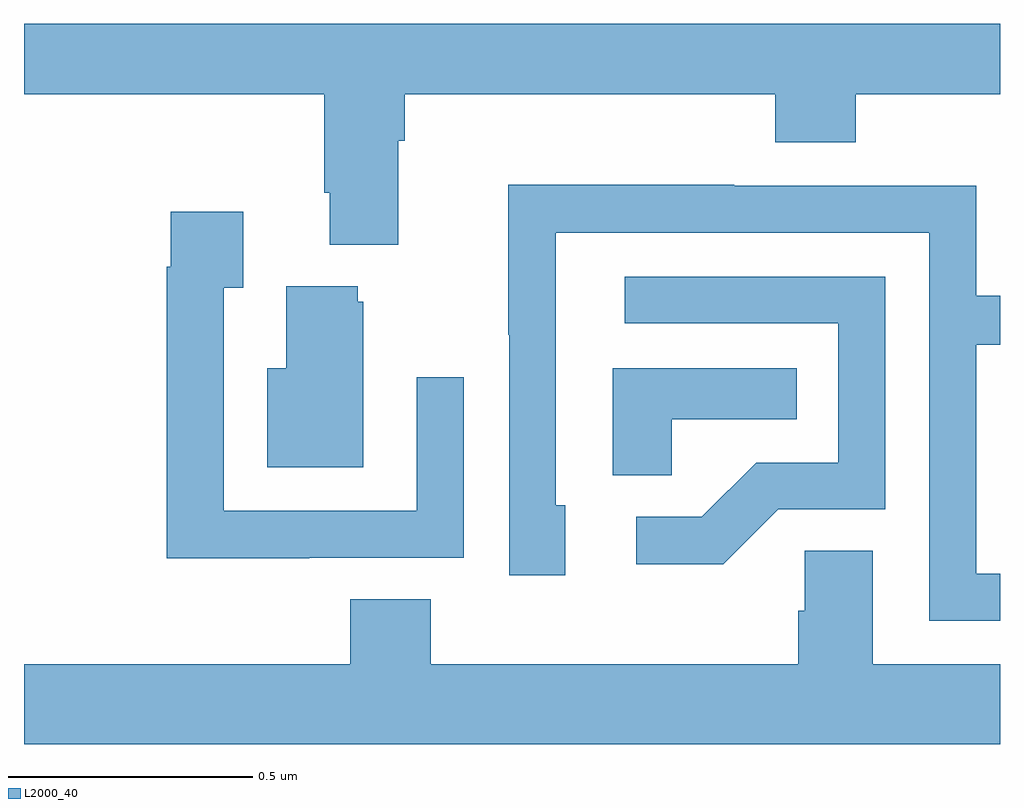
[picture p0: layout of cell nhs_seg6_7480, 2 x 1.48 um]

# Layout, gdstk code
import gdstk
lib = gdstk.Library(unit=1e-6, precision=1e-09)
def P(c, l, *ps):  # polygons
    for p in ps: c.add(gdstk.Polygon(p, *l))
L2000_40 = (2000, 40)

nhs_seg6_7480 = lib.new_cell('nhs_seg6_7480')
P(nhs_seg6_7480, L2000_40, [(209.767,927.26),(209.78,927.26),(209.78,927.356),(210.539,927.356),(210.539,927.257),(210.704,927.257),(210.704,927.356),(211,927.356),(211,927.5),(209,927.5),(209,927.356),(209.615,927.356),(209.615,927.154),(209.627,927.154),(209.627,927.047),(209.767,927.047)],
  [(211,926.373),(210.951,926.373),(210.951,926.842),(211,926.842),(211,926.943),(210.951,926.943),(210.951,927.168),(210.455,927.168),(210.455,927.17),(209.992,927.17),(209.992,926.863),(209.994,926.863),(209.994,926.37),(210.109,926.37),(210.109,926.514),(210.09,926.514),(210.09,927.072),(210.855,927.072),(210.855,926.277),(211,926.277)],
  [(209.585,926.406),(209.901,926.406),(209.901,926.776),(209.805,926.776),(209.805,926.502),(209.409,926.502),(209.409,926.959),(209.449,926.959),(209.449,927.115),(209.301,927.115),(209.301,927.002),(209.293,927.002),(209.293,926.405),(209.585,926.405)],
  [(210.546,926.505),(210.765,926.505),(210.765,926.982),(210.231,926.982),(210.231,926.886),(210.669,926.886),(210.669,926.601),(210.5,926.601),(210.389,926.49),(210.255,926.49),(210.255,926.393),(210.433,926.393)],
  [(209.695,926.931),(209.684,926.931),(209.684,926.962),(209.537,926.962),(209.537,926.794),(209.498,926.794),(209.498,926.591),(209.695,926.591)],
  [(210.327,926.69),(210.584,926.69),(210.584,926.794),(210.206,926.794),(210.206,926.575),(210.327,926.575)],
  [(211,926.188),(210.739,926.188),(210.739,926.42),(210.6,926.42),(210.6,926.297),(210.587,926.297),(210.587,926.188),(209.834,926.188),(209.834,926.321),(209.669,926.321),(209.669,926.188),(209,926.188),(209,926.024),(211,926.024)])

lib.write_gds('nhs_seg6_7480.gds')
